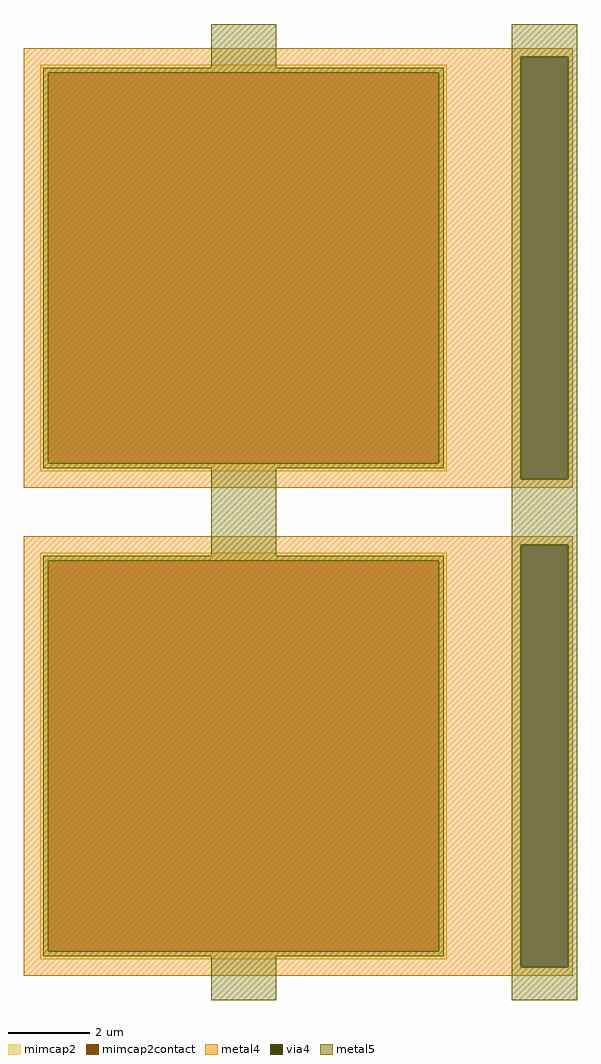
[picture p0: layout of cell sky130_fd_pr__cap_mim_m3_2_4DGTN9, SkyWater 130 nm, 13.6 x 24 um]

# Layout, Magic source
magic
tech sky130A
magscale 1 2
<< metal4 >>
rect -1349 2239 1349 2280
rect -1349 161 1093 2239
rect 1329 161 1349 2239
rect -1349 120 1349 161
rect -1349 -161 1349 -120
rect -1349 -2239 1093 -161
rect 1329 -2239 1349 -161
rect -1349 -2280 1349 -2239
<< via4 >>
rect 1093 161 1329 2239
rect 1093 -2239 1329 -161
<< mimcap2 >>
rect -1269 2160 731 2200
rect -1269 240 -1229 2160
rect 691 240 731 2160
rect -1269 200 731 240
rect -1269 -240 731 -200
rect -1269 -2160 -1229 -240
rect 691 -2160 731 -240
rect -1269 -2200 731 -2160
<< mimcap2contact >>
rect -1229 240 691 2160
rect -1229 -2160 691 -240
<< metal5 >>
rect -429 2184 -109 2400
rect 1051 2239 1371 2400
rect -1253 2160 715 2184
rect -1253 240 -1229 2160
rect 691 240 715 2160
rect -1253 216 715 240
rect -429 -216 -109 216
rect 1051 161 1093 2239
rect 1329 161 1371 2239
rect 1051 -161 1371 161
rect -1253 -240 715 -216
rect -1253 -2160 -1229 -240
rect 691 -2160 715 -240
rect -1253 -2184 715 -2160
rect -429 -2400 -109 -2184
rect 1051 -2239 1093 -161
rect 1329 -2239 1371 -161
rect 1051 -2400 1371 -2239
<< properties >>
string FIXED_BBOX -1349 120 811 2280
string gencell sky130_fd_pr__cap_mim_m3_2
string library sky130
string parameters w 10.0 l 10.0 val 207.6 carea 2.00 cperi 0.19 nx 1 ny 2 dummy 0 square 0 lmin 2.00 wmin 2.00 lmax 30.0 wmax 30.0 dc 0 bconnect 1 tconnect 1 ccov 100
<< end >>
